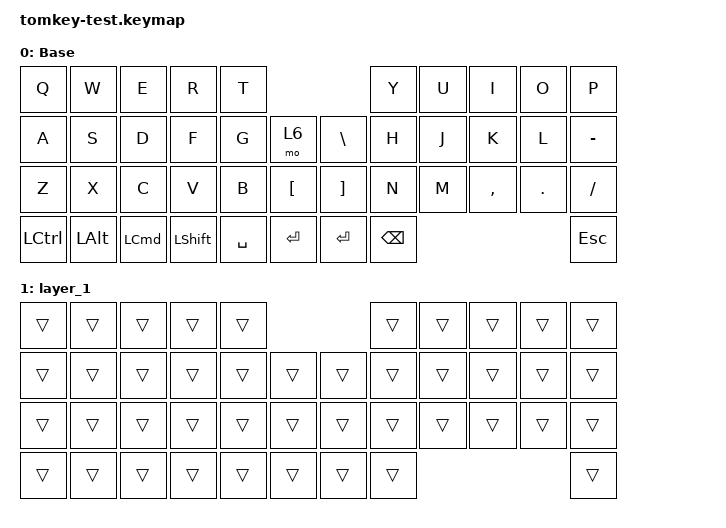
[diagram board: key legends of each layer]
/*
 * Test keymap to match physical layout from photo
 */

#include <behaviors.dtsi>
#include <dt-bindings/zmk/bt.h>
#include <dt-bindings/zmk/keys.h>
#include <dt-bindings/zmk/mouse.h>

/ {
    keymap {
        compatible = "zmk,keymap";

        default_layer {
            display-name = "Base";
            bindings = <
&kp Q      &kp W         &kp E             &kp R           &kp T                                                 &kp Y            &kp U     &kp I         &kp O    &kp P
&kp A      &kp S         &kp D             &kp F           &kp G        &mo 6                 &kp BACKSLASH      &kp H            &kp J     &kp K         &kp L    &kp MINUS
&kp Z      &kp X         &kp C             &kp V           &kp B        &kp LEFT_BRACKET      &kp RIGHT_BRACKET  &kp N            &kp M     &kp COMMA     &kp DOT  &kp SLASH
&kp LCTRL  &kp LEFT_ALT  &kp LEFT_COMMAND  &kp LEFT_SHIFT  &kp SPACE    &kp ENTER             &kp ENTER          &kp BACKSPACE                                   &kp ESCAPE
            >;
        };

        // Add other layers as needed...
        layer_1 {
            bindings = <
&trans  &trans  &trans  &trans  &trans                      &trans  &trans  &trans  &trans  &trans
&trans  &trans  &trans  &trans  &trans  &trans      &trans  &trans  &trans  &trans  &trans  &trans
&trans  &trans  &trans  &trans  &trans  &trans      &trans  &trans  &trans  &trans  &trans  &trans
&trans  &trans  &trans  &trans  &trans  &trans      &trans  &trans                          &trans
            >;
        };
    };
};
